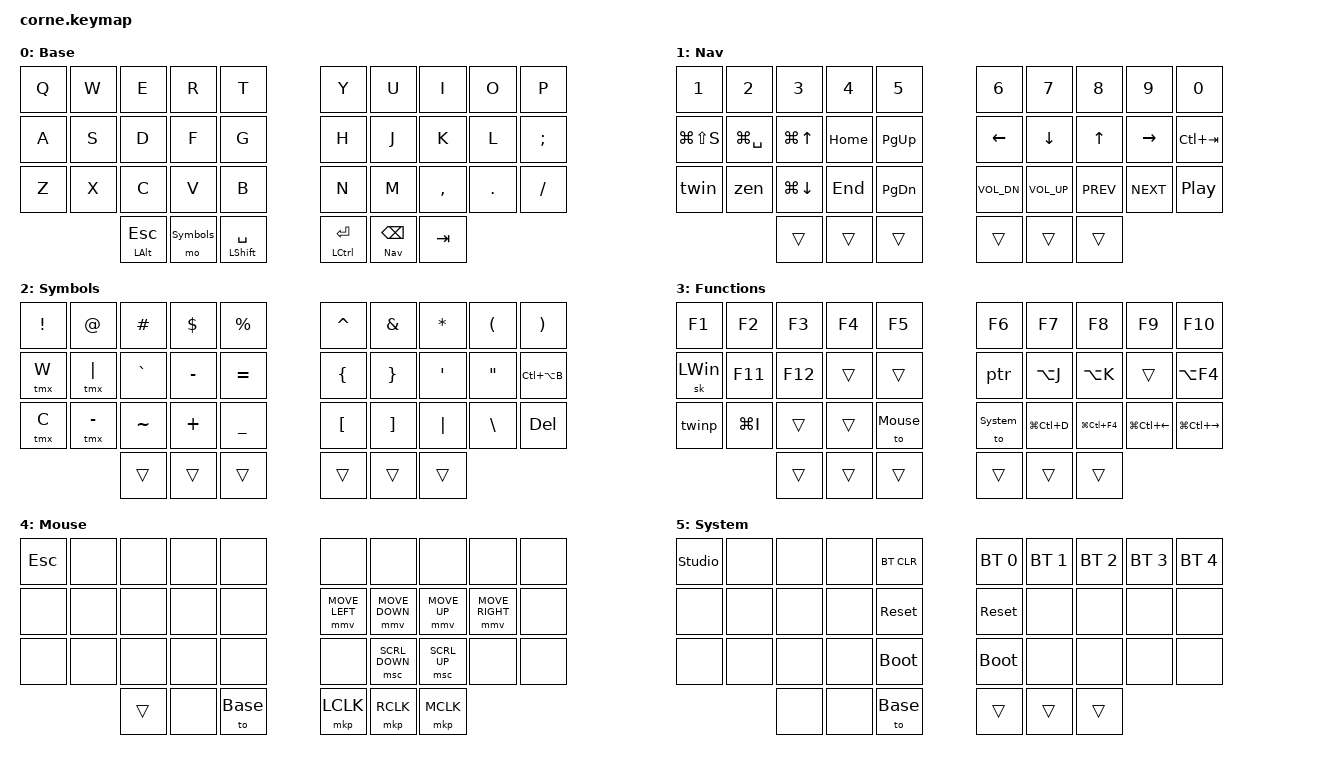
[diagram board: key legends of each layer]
/*
 * Copyright (c) 2020 The ZMK Contributors
 *
 * SPDX-License-Identifier: MIT
 */

#include <behaviors.dtsi>
#include <dt-bindings/zmk/bt.h>
#include <dt-bindings/zmk/keys.h>
#include <dt-bindings/zmk/pointing.h>

// Layers

#define Base       0
#define Nav        1
#define Symbols    2
#define Functions  3
#define Mouse      4
#define System     5

#define MACRO_WAIT_MS 15
#define MACRO_TAP_MS  20

/ {
    chosen {
      zmk,physical-layout = &foostan_corne_5col_layout;
    };

    macros {
        zen: zen_browser {
            compatible = "zmk,behavior-macro";
            #binding-cells = <0>;
            wait-ms = <MACRO_WAIT_MS>;
            tap-ms = <MACRO_TAP_MS>;
            bindings =
                <&macro_press>,
                <&kp LWIN>,
                <&kp LALT>,

                <&macro_tap>,
                <&kp SPACE>,

                <&macro_release>,
                <&kp LWIN>,
                <&kp LALT>,

                <&macro_pause_for_release>,
                <&macro_wait_time 300>,
                <&macro_tap>,
                <&kp Z>,
                <&kp E>,
                <&kp N>,
                <&kp ENTER>;
        };

        twin: terminal_windows {
            compatible = "zmk,behavior-macro";
            #binding-cells = <0>;
            wait-ms = <MACRO_WAIT_MS>;
            tap-ms = <MACRO_TAP_MS>;
            bindings =
                <&macro_press>,
                <&kp LCTRL>,
                <&kp LWIN>,

                <&macro_tap>,
                <&kp T>,

                <&macro_release>,
                <&kp LCTRL>,
                <&kp LWIN>,

                <&macro_wait_time 150>,
                <&macro_tap>,
                <&kp D>,
                <&kp ENTER>;
        };

        twinp: terminal_windows_powershell {
            compatible = "zmk,behavior-macro";
            #binding-cells = <0>;
            wait-ms = <MACRO_WAIT_MS>;
            tap-ms = <MACRO_TAP_MS>;
            bindings =
                <&macro_press>,
                <&kp LCTRL>,
                <&kp LWIN>,

                <&macro_tap>,
                <&kp T>,

                <&macro_release>,
                <&kp LCTRL>,
                <&kp LWIN>,

                <&macro_wait_time 100>,
                <&macro_tap>,
                <&kp P>,
                <&kp ENTER>;
        };

        ptr: powertoy_run {
            compatible = "zmk,behavior-macro";
            #binding-cells = <0>;
            wait-ms = <MACRO_WAIT_MS>;
            tap-ms = <MACRO_TAP_MS>;
            bindings =
                <&macro_press>,
                <&kp LWIN>,
                <&kp LALT>,

                <&macro_tap>,
                <&kp SPACE>,

                <&macro_release>,
                <&kp LWIN>,
                <&kp LALT>;
        };

        tmx: tmux_prefix {
            compatible = "zmk,behavior-macro-one-param";
            #binding-cells = <1>;
            wait-ms = <15>;
            tap-ms = <15>;
            bindings = <&macro_tap &kp LC(A)>,
                       <&macro_param_1to1>,
                       <&macro_tap &kp MACRO_PLACEHOLDER>;
        };
    };

    combos {
        compatible = "zmk,combos";

        combo_esc {
            bindings = <&kp ESC>;
            key-positions = <0 1>;
            layers = <0>;
            timeout-ms = <50>;
            require-prior-idle-ms = <150>;
        };

        combo_control {
            bindings = <&kp LCTRL>;
            key-positions = <20 21>;
            layers = <0>;
            timeout-ms = <80>;
            require-prior-idle-ms = <150>;
        };

    };

    behaviors {
        tm: thumb_mods {
            compatible = "zmk,behavior-hold-tap";
            #binding-cells = <2>;
            tapping-term-ms = <150>;
            quick-tap-ms = <150>;
            flavor = "tap-preferred";
            bindings = <&kp>, <&kp>;
            require-prior-idle-ms = <120>;
        };

        em: enter_mod {
            compatible = "zmk,behavior-hold-tap";
            #binding-cells = <2>;
            tapping-term-ms = <200>;
            quick-tap-ms = <250>;
            flavor = "balanced";
            bindings = <&kp>, <&kp>;
        };

        lh: layer_hold {
            compatible = "zmk,behavior-hold-tap";
            #binding-cells = <2>;
            tapping-term-ms = <150>;
            quick-tap-ms = <180>;
            flavor = "tap-preferred";
            bindings = <&mo>, <&kp>;
        };
    };

    keymap {
        compatible = "zmk,keymap";

        Base {
            display-name = "Base";
            bindings = <
                &kp Q  &kp W  &kp E         &kp R        &kp T              &kp Y          &kp U         &kp I      &kp O    &kp P
                &kp A  &kp S  &kp D         &kp F        &kp G              &kp H          &kp J         &kp K      &kp L    &kp SEMI
                &kp Z  &kp X  &kp C         &kp V        &kp B              &kp N          &kp M         &kp COMMA  &kp DOT  &kp FSLH
                              &tm LALT ESC  &mo Symbols  &tm LSHFT SPACE    &em LCTRL RET  &lh Nav BSPC  &kp TAB
            >;
        };

        Nav {
            display-name = "Nav";
            bindings = <
                &kp N1         &kp N2         &kp N3        &kp N4    &kp N5       &kp N6        &kp N7        &kp N8      &kp N9      &kp N0
                &kp LG(LS(S))  &kp LG(SPACE)  &kp LG(UP)    &kp HOME  &kp PG_UP    &kp LEFT      &kp DOWN      &kp UP      &kp RIGHT   &kp LC(TAB)
                &twin          &zen           &kp LG(DOWN)  &kp END   &kp PG_DN    &kp C_VOL_DN  &kp C_VOL_UP  &kp C_PREV  &kp C_NEXT  &kp C_PLAY_PAUSE
                                              &trans        &trans    &trans       &trans        &trans        &trans
            >;
        };

        Symbols {
            display-name = "Symbols";
            bindings = <
                &kp EXCL  &kp AT      &kp HASH   &kp DLLR   &kp PRCNT    &kp CARET  &kp AMPS  &kp STAR  &kp LPAR  &kp RPAR
                &tmx W    &tmx PIPE   &kp GRAVE  &kp MINUS  &kp EQUAL    &kp LBRC   &kp RBRC  &kp SQT   &kp DQT   &kp LC(LA(B))
                &tmx C    &tmx MINUS  &kp TILDE  &kp PLUS   &kp UNDER    &kp LBKT   &kp RBKT  &kp PIPE  &kp BSLH  &kp DEL
                                      &trans     &trans     &trans       &trans     &trans    &trans
            >;
        };

        Functions {
            display-name = "Functions";
            bindings = <
                &kp F1    &kp F2     &kp F3   &kp F4  &kp F5       &kp F6      &kp F7         &kp F8          &kp F9            &kp F10
                &sk LWIN  &kp F11    &kp F12  &trans  &trans       &ptr        &kp LA(J)      &kp LA(K)       &trans            &kp LA(F4)
                &twinp    &kp LG(I)  &trans   &trans  &to Mouse    &to System  &kp LG(LC(D))  &kp LG(LC(F4))  &kp LG(LC(LEFT))  &kp LG(LC(RIGHT))
                                     &trans   &trans  &trans       &trans      &trans         &trans
            >;
        };

        Mouse {
            display-name = "Mouse";
            bindings = <
                &kp ESC  &none  &none   &none  &none      &none           &none           &none         &none            &none
                &none    &none  &none   &none  &none      &mmv MOVE_LEFT  &mmv MOVE_DOWN  &mmv MOVE_UP  &mmv MOVE_RIGHT  &none
                &none    &none  &none   &none  &none      &none           &msc SCRL_DOWN  &msc SCRL_UP  &none            &none
                                &trans  &none  &to Base   &mkp LCLK       &mkp RCLK       &mkp MCLK
            >;
        };

        System {
            display-name = "System";
            bindings = <
                &studio_unlock  &none  &none  &none  &bt BT_CLR     &bt BT_SEL 0  &bt BT_SEL 1  &bt BT_SEL 2  &bt BT_SEL 3  &bt BT_SEL 4
                &none           &none  &none  &none  &sys_reset     &sys_reset    &none         &none         &none         &none
                &none           &none  &none  &none  &bootloader    &bootloader   &none         &none         &none         &none
                                       &none  &none  &to Base       &trans        &trans        &trans
            >;
        };
    };

    conditional_layers {
        compatible = "zmk,conditional-layers";

        functions {
            if-layers = <1 2>;
            then-layer = <3>;
        };
    };
};
